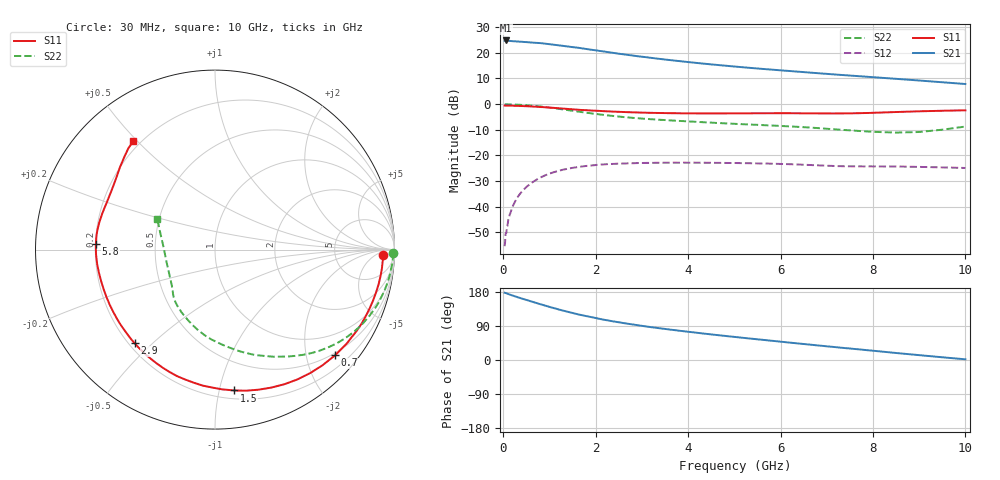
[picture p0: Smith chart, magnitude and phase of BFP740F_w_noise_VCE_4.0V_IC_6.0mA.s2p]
! Infineon Technologies  Discrete & RF Semiconductors
! BFP740F
! VCE =  4.0 V,  IC =  6.0 mA
! Common Emitter S-Parameters:  Oct 2012
# GHz  S  MA  R  50
!  f  S11  S21  S12  S22
! GHz  MAG  ANG  MAG  ANG  MAG  ANG  MAG  ANG
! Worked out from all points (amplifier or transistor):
!   99 points, 30 MHz to 10 GHz, reference 50 ohm
!   highest |S21| = 24.8 dB at 50 MHz (marker M1)
!   |S21| within 3 dB of that: start of sweep to 1.677 GHz
!   unconditionally stable (mu >= 1): 7.217 GHz to end of sweep
!   at 350 MHz: K = 0.09, MSG = 29.8 dB, |S12| = -35.3 dB
!   at 3.5 GHz: K = 0.37, MSG = 20.1 dB, |S12| = -22.8 dB
!   at 10 GHz: K = 1.30, MAG = 13.1 dB, |S12| = -24.9 dB
!   lowest NFmin = 0.39 dB at 450 MHz
!   S11 on the Smith chart (normalised r, x): 30 MHz: 25, -12; 700 MHz: 0.45, -2.58; 1.5 GHz: 0.26, -1.11; 2.9 GHz: 0.22, -0.44; 5.8 GHz: 0.20, +0.02; 10 GHz: 0.17, +0.49
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0.03  0.9382 -1.8  17.24 177.5  0.0017 67.2  0.9919 -1.2
0.05  0.937 -3.0  17.43 176.9  0.0029 76.4  0.9911 -2.0
0.15  0.934 -9.2  17.05 172.3  0.0073 78.8  0.9872 -6.0
0.35  0.9215 -21.0  16.52 164.2  0.0172 75.1  0.9713 -13.8
0.5  0.9099 -29.8  16.2 158.6  0.0242 71.4  0.9518 -19.6
0.7  0.8915 -41.3  15.67 151.1  0.0328 64.7  0.9191 -27.0
0.8  0.8799 -47.1  15.48 147.3  0.0369 61.5  0.8995 -30.6
1  0.8565 -57.7  14.75 140.2  0.0441 55.3  0.8562 -37.6
1.1  0.8437 -62.8  14.36 136.8  0.0472 52.3  0.8327 -40.9
1.3  0.8172 -72.8  13.64 130.2  0.0528 46.8  0.7859 -47.3
1.5  0.7921 -82.2  12.92 124.1  0.0572 42.0  0.7406 -53.1
1.7  0.7686 -91.2  12.25 118.3  0.0608 37.4  0.6988 -58.6
2.2  0.7275 -110.3  10.55 105.8  0.067 27.7  0.6111 -71.7
2.6  0.7018 -122.6  9.364 97.5  0.0695 21.6  0.5602 -80.1
2.9  0.6875 -130.6  8.61 92.0  0.0709 17.9  0.5314 -85.6
3.4  0.671 -142.5  7.593 83.5  0.0718 12.4  0.494 -93.8
4.2  0.6589 -158.1  6.333 71.7  0.0721 5.8  0.4497 -103.8
5.1  0.6614 -172.9  5.313 59.7  0.0709 -0.3  0.4093 -114.1
5.8  0.664 177.2  4.712 50.9  0.0689 -4.2  0.3833 -122.1
6.7  0.6599 163.8  4.073 39.8  0.0646 -8.0  0.3459 -132.1
8.5  0.7011 139.0  3.112 18.5  0.0608 -8.9  0.2787 -166.4
10  0.7577 126.9  2.465 1.8  0.0569 -10.4  0.3651 151.8
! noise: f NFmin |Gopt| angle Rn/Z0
0.45  0.39  0.32  6  0.21
0.9  0.44  0.32  12  0.18
1.5  0.51  0.32  24  0.14
1.9  0.55  0.31  32  0.13
2.4  0.62  0.3  41  0.12
3.5  0.75  0.27  66  0.11
5.5  0.99  0.17  113  0.19
10  1.49  0.4  -125  0.07
